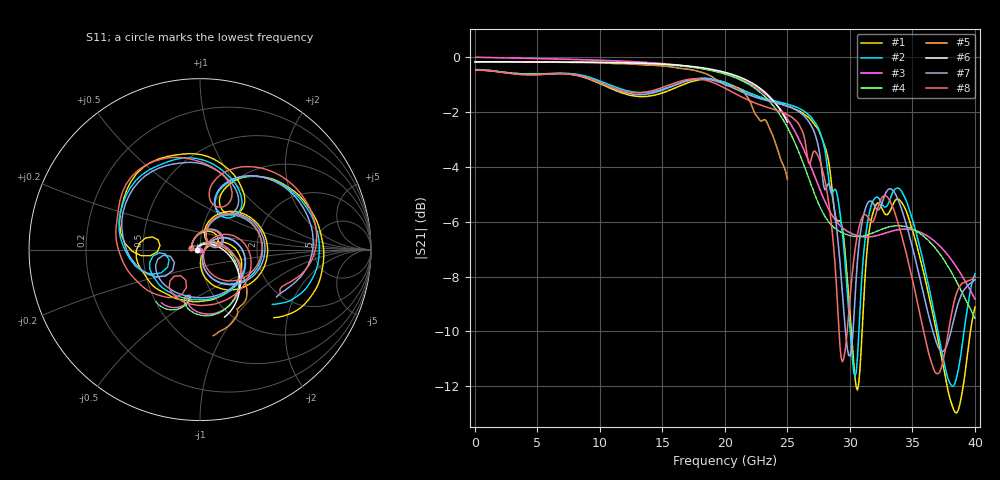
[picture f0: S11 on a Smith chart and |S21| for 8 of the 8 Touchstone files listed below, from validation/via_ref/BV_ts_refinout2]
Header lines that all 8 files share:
# Hz S RI R 50
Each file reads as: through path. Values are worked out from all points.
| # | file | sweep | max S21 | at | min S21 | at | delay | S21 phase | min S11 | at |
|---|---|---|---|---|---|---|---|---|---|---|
| 1 | cst.s2p | 100 MHz to 40 GHz | -0.47 dB | 100 MHz | -13.0 dB | 38.5 GHz | 57.9 ps | -60 deg at 20.1 GHz | -32.1 dB | 19 GHz |
| 2 | kisi.s2p | 100 MHz to 40 GHz | -0.45 dB | 200 MHz | -12.0 dB | 38.2 GHz | 57.2 ps | -57 deg at 20.1 GHz | -32.6 dB | 18.7 GHz |
| 3 | ladder.s2p | 100 MHz to 40 GHz | 0.00 dB | 100 MHz | -8.8 dB | 40 GHz | 14.5 ps | -105 deg at 20.1 GHz | -82.0 dB | 100 MHz |
| 4 | ladder_3dloss.s2p | 100 MHz to 40 GHz | -0.17 dB | 100 MHz | -9.5 dB | 40 GHz | 15.1 ps | -108 deg at 20.1 GHz | -34.3 dB | 100 MHz |
| 5 | ladder_grid.s2p | 25 MHz to 25 GHz | -0.17 dB | 25 MHz | -4.4 dB | 25 GHz | 16.8 ps | -64 deg at 12.53 GHz | -34.3 dB | 25 MHz |
| 6 | ladder_inf.s2p | 25 MHz to 25 GHz | -0.17 dB | 75 MHz | -2.4 dB | 25 GHz | 15.8 ps | -62 deg at 12.53 GHz | -34.4 dB | 3.125 GHz |
| 7 | openems.s2p | 100 MHz to 40 GHz | -0.45 dB | 100 MHz | -10.9 dB | 30 GHz | 57.6 ps | -61 deg at 20.1 GHz | -32.1 dB | 18.5 GHz |
| 8 | openems_base.s2p | 100 MHz to 40 GHz | -0.46 dB | 100 MHz | -11.5 dB | 37 GHz | 57.9 ps | -66 deg at 20.1 GHz | -31.6 dB | 18 GHz |
